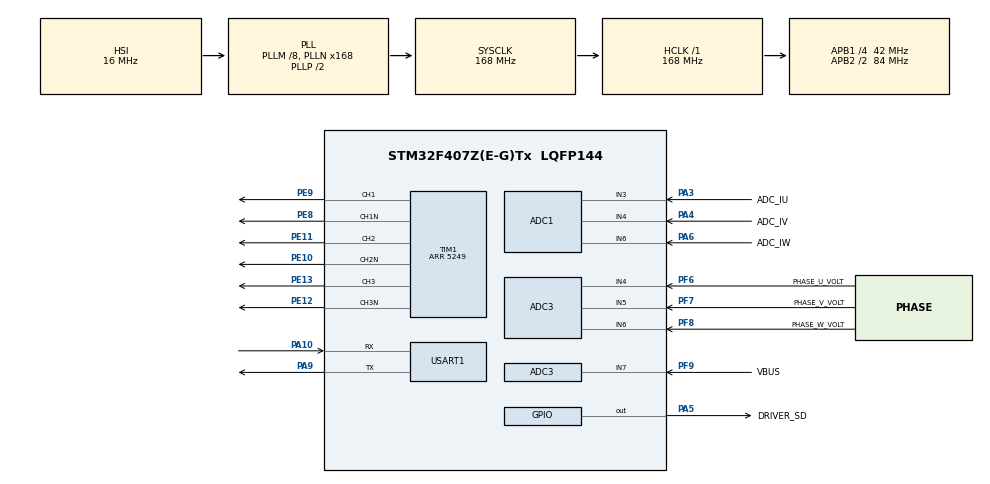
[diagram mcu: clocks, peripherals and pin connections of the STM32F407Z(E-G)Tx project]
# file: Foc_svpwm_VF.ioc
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ADC1.Channel-5\#ChannelRegularConversion=ADC_CHANNEL_VREFINT
ADC1.Channel-6\#ChannelInjectedConversion=ADC_CHANNEL_3
ADC1.Channel-7\#ChannelInjectedConversion=ADC_CHANNEL_4
ADC1.Channel-8\#ChannelInjectedConversion=ADC_CHANNEL_6
ADC1.ExternalTrigInjecConv=ADC_EXTERNALTRIGINJECCONV_T1_CC4
ADC1.InjNumberOfConversion=3
ADC1.InjectedOffset-6\#ChannelInjectedConversion=0
ADC1.InjectedOffset-7\#ChannelInjectedConversion=0
ADC1.InjectedOffset-8\#ChannelInjectedConversion=0
ADC1.InjectedRank-6\#ChannelInjectedConversion=1
ADC1.InjectedRank-7\#ChannelInjectedConversion=2
ADC1.InjectedRank-8\#ChannelInjectedConversion=3
ADC1.NbrOfConversionFlag=1
ADC1.Rank-5\#ChannelRegularConversion=1
ADC1.SamplingTime-5\#ChannelRegularConversion=ADC_SAMPLETIME_480CYCLES
ADC1.SamplingTime-6\#ChannelInjectedConversion=ADC_SAMPLETIME_15CYCLES
ADC1.SamplingTime-7\#ChannelInjectedConversion=ADC_SAMPLETIME_15CYCLES
ADC1.SamplingTime-8\#ChannelInjectedConversion=ADC_SAMPLETIME_15CYCLES
ADC1.master=1
ADC3.Channel-0\#ChannelRegularConversion=ADC_CHANNEL_4
ADC3.Channel-1\#ChannelRegularConversion=ADC_CHANNEL_5
ADC3.Channel-2\#ChannelRegularConversion=ADC_CHANNEL_6
ADC3.Channel-3\#ChannelRegularConversion=ADC_CHANNEL_7
ADC3.ContinuousConvMode=DISABLE
ADC3.NbrOfConversion=4
ADC3.NbrOfConversionFlag=1
ADC3.Rank-0\#ChannelRegularConversion=1
ADC3.Rank-1\#ChannelRegularConversion=2
ADC3.Rank-2\#ChannelRegularConversion=3
ADC3.Rank-3\#ChannelRegularConversion=4
ADC3.SamplingTime-0\#ChannelRegularConversion=ADC_SAMPLETIME_28CYCLES
ADC3.SamplingTime-1\#ChannelRegularConversion=ADC_SAMPLETIME_28CYCLES
ADC3.SamplingTime-2\#ChannelRegularConversion=ADC_SAMPLETIME_28CYCLES
ADC3.SamplingTime-3\#ChannelRegularConversion=ADC_SAMPLETIME_28CYCLES
ADC3.DMAContinuousRequests=ENABLE
ADC3.EOCSelection=ADC_EOC_SEQ_CONV
ADC3.ScanConvMode=ENABLE
Dma.Request0=USART1_RX
Dma.Request1=USART1_TX
Dma.Request2=ADC3
Dma.USART1_RX.0.Direction=DMA_PERIPH_TO_MEMORY
Dma.USART1_RX.0.FIFOMode=DMA_FIFOMODE_DISABLE
Dma.USART1_RX.0.Instance=DMA2_Stream2
Dma.USART1_RX.0.MemDataAlignment=DMA_MDATAALIGN_BYTE
Dma.USART1_RX.0.MemInc=DMA_MINC_ENABLE
Dma.USART1_RX.0.Mode=DMA_NORMAL
Dma.USART1_RX.0.PeriphDataAlignment=DMA_PDATAALIGN_BYTE
Dma.USART1_RX.0.PeriphInc=DMA_PINC_DISABLE
Dma.USART1_RX.0.Priority=DMA_PRIORITY_LOW
Dma.USART1_TX.1.Direction=DMA_MEMORY_TO_PERIPH
Dma.USART1_TX.1.FIFOMode=DMA_FIFOMODE_DISABLE
Dma.USART1_TX.1.Instance=DMA2_Stream7
Dma.USART1_TX.1.MemDataAlignment=DMA_MDATAALIGN_BYTE
Dma.USART1_TX.1.MemInc=DMA_MINC_ENABLE
Dma.USART1_TX.1.Mode=DMA_NORMAL
Dma.USART1_TX.1.PeriphDataAlignment=DMA_PDATAALIGN_BYTE
Dma.USART1_TX.1.PeriphInc=DMA_PINC_DISABLE
Dma.USART1_TX.1.Priority=DMA_PRIORITY_LOW
Dma.ADC3.2.Direction=DMA_PERIPH_TO_MEMORY
Dma.ADC3.2.FIFOMode=DMA_FIFOMODE_DISABLE
Dma.ADC3.2.Instance=DMA2_Stream0
Dma.ADC3.2.MemDataAlignment=DMA_MDATAALIGN_HALFWORD
Dma.ADC3.2.MemInc=DMA_MINC_ENABLE
Dma.ADC3.2.Mode=DMA_NORMAL
Dma.ADC3.2.PeriphDataAlignment=DMA_PDATAALIGN_HALFWORD
Dma.ADC3.2.PeriphInc=DMA_PINC_DISABLE
Dma.ADC3.2.Priority=DMA_PRIORITY_LOW
Mcu.Family=STM32F4
Mcu.Name=STM32F407Z(E-G)Tx
Mcu.Package=LQFP144
NVIC.ADC_IRQn=true\:1\:0\:true\:false\:true\:true\:true\:true
NVIC.DMA2_Stream2_IRQn=true\:0\:0\:false\:false\:true\:false\:true\:true
NVIC.DMA2_Stream7_IRQn=true\:0\:0\:false\:false\:true\:false\:true\:true
NVIC.PriorityGroup=NVIC_PRIORITYGROUP_4
NVIC.USART1_IRQn=true\:1\:0\:true\:false\:true\:true\:true\:true
PA10.Mode=Asynchronous
PA10.Signal=USART1_RX
PA13.Mode=Serial_Wire
PA13.Signal=SYS_JTMS-SWDIO
PA14.Mode=Serial_Wire
PA14.Signal=SYS_JTCK-SWCLK
PA3.GPIO_Label=ADC_IU
PA3.Signal=ADCx_IN3
PA4.GPIO_Label=ADC_IV
PA4.Signal=ADCx_IN4
PA5.GPIO_Label=DRIVER_SD
PA5.GPIO_PuPd=GPIO_PULLDOWN
PA5.Signal=GPIO_Output
PA6.GPIO_Label=ADC_IW
PA6.Signal=ADCx_IN6
PA9.Mode=Asynchronous
PA9.Signal=USART1_TX
PC14-OSC32_IN.Mode=LSE-External-Oscillator
PC14-OSC32_IN.Signal=RCC_OSC32_IN
PC15-OSC32_OUT.Mode=LSE-External-Oscillator
PC15-OSC32_OUT.Signal=RCC_OSC32_OUT
PE10.Mode=PWM Generation2 CH2 CH2N
PE10.Signal=TIM1_CH2N
PE11.Signal=S_TIM1_CH2
PE12.Mode=PWM Generation3 CH3 CH3N
PE12.Signal=TIM1_CH3N
PE13.Signal=S_TIM1_CH3
PE8.Mode=PWM Generation1 CH1 CH1N
PE8.Signal=TIM1_CH1N
PE9.Signal=S_TIM1_CH1
PF6.GPIO_Label=PHASE_U_VOLT
PF6.Mode=IN4
PF6.Signal=ADC3_IN4
PF7.GPIO_Label=PHASE_V_VOLT
PF7.Mode=IN5
PF7.Signal=ADC3_IN5
PF8.GPIO_Label=PHASE_W_VOLT
PF8.Mode=IN6
PF8.Signal=ADC3_IN6
PF9.GPIO_Label=VBUS
PF9.Mode=IN7
PF9.Signal=ADC3_IN7
PH0-OSC_IN.Mode=HSE-External-Oscillator
PH0-OSC_IN.Signal=RCC_OSC_IN
PH1-OSC_OUT.Mode=HSE-External-Oscillator
PH1-OSC_OUT.Signal=RCC_OSC_OUT
ProjectManager.HeapSize=0x200
ProjectManager.StackSize=0x400
ProjectManager.TargetToolchain=MDK-ARM V5.32
RCC.48MHZClocksFreq_Value=84000000
RCC.AHBFreq_Value=168000000
RCC.APB1CLKDivider=RCC_HCLK_DIV4
RCC.APB1Freq_Value=42000000
RCC.APB1TimFreq_Value=84000000
RCC.APB2CLKDivider=RCC_HCLK_DIV2
RCC.APB2Freq_Value=84000000
RCC.APB2TimFreq_Value=168000000
RCC.CortexFreq_Value=168000000
RCC.HCLKFreq_Value=168000000
RCC.HSE_VALUE=8000000
RCC.HSI_VALUE=16000000
RCC.PLLM=8
RCC.PLLN=168
RCC.SYSCLKFreq_VALUE=168000000
RCC.SYSCLKSource=RCC_SYSCLKSOURCE_PLLCLK
RCC.VCOOutputFreq_Value=336000000
SH.ADCx_IN3.0=ADC1_IN3,IN3
SH.ADCx_IN4.0=ADC1_IN4,IN4
SH.ADCx_IN6.0=ADC1_IN6,IN6
SH.S_TIM1_CH1.0=TIM1_CH1,PWM Generation1 CH1 CH1N
SH.S_TIM1_CH2.0=TIM1_CH2,PWM Generation2 CH2 CH2N
SH.S_TIM1_CH3.0=TIM1_CH3,PWM Generation3 CH3 CH3N
TIM1.AutoReloadPreload=TIM_AUTORELOAD_PRELOAD_ENABLE
TIM1.Channel-PWM\ Generation1\ CH1\ CH1N=TIM_CHANNEL_1
TIM1.Channel-PWM\ Generation2\ CH2\ CH2N=TIM_CHANNEL_2
TIM1.Channel-PWM\ Generation3\ CH3\ CH3N=TIM_CHANNEL_3
TIM1.Channel-PWM\ Generation4\ No\ Output=TIM_CHANNEL_4
TIM1.CounterMode=TIM_COUNTERMODE_CENTERALIGNED1
TIM1.OCMode_PWM-PWM\ Generation4\ No\ Output=TIM_OCMODE_PWM2
TIM1.Period=5249
TIM1.Pulse-PWM\ Generation2\ CH2\ CH2N=0
TIM1.Pulse-PWM\ Generation3\ CH3\ CH3N=0
TIM1.Pulse-PWM\ Generation4\ No\ Output=2625
TIM1.RepetitionCounter=1
TIM6.Prescaler=83
TIM6.Period=999
TIM6.MasterOutputTrigger=TIM_TRGO_UPDATE
USART1.VirtualMode=VM_ASYNC
VP_TIM1_VS_ClockSourceINT.Mode=Internal
VP_TIM1_VS_no_output4.Mode=PWM Generation4 No Output
VP_TIM6_VS_ClockSourceINT.Mode=Enable_Timer
board=custom

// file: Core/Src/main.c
/* USER CODE BEGIN Header */
/**
  ******************************************************************************
  * @file           : main.c
  * @brief          : Main program body
  ******************************************************************************
  * @attention
  *
  * Copyright (c) 2026 STMicroelectronics.
  * All rights reserved.
  *
  * This software is licensed under terms that can be found in the LICENSE file
  * in the root directory of this software component.
  * If no LICENSE file comes with this software, it is provided AS-IS.
  *
  ******************************************************************************
  */
/* USER CODE END Header */
#include "main.h"
#include "adc.h"
#include "dma.h"
#include "tim.h"
#include "usart.h"
#include "gpio.h"

/* USER CODE BEGIN Includes */
#include "open_loop_vf.h"
#include "svpwm.h"
#include "foc_math.h"
#include "foc_hw_pwm.h"
#include "comm_uart.h"
#include "comm_uart_stm32.h"
#include "comm_vofa.h"
#include "comm_cmd.h"
#include "comm_scope.h"
#include "app_debug.h"
#include "app_measurement.h"
#include "motor_fault.h"
#include "stm32f4xx_ll_adc.h"
#include <math.h>
/* USER CODE END Includes */

/* USER CODE BEGIN PD */
// TODO: 这些宏定义是否需要放到配置文件中，方便后续的参数调整和维护，或者后期修改为变量，便于在运行时进行调试和优化，减少代码的硬编码，提高系统的灵活性和可配置性。
#define VDC             12.0f       /* 母线电压 (V) */
#define PWM_FREQ        16000       /* PWM 频率 (Hz) */
#define PWM_PERIOD      5249        /* TIM1 ARR 值 */
#define ADC_TRIGGER_TICKS ((PWM_PERIOD * 3U + 2U) / 4U) /* 50% PWM 导通区中部 */
#define DEAD_TIME_US    0.5f        /* 死区时间 (us) */

#define VF_TARGET_FREQ  17.0f       /* 目标频率 (Hz) */
#define VF_ACCEL        2.0f        /* 加速度 (Hz/s) */
#define VF_RATIO        0.05f       /* V/f 比 (V/Hz) */
#define VF_V_MAX        5.93f       /* 最大电压 (V) = Vdc/√3 */
#define VF_V_MIN        0.2f        /* 最小电压 (V) */

#define DEBUG_UART_RX_DMA_SIZE   64U
#define DEBUG_UART_RX_RING_SIZE  128U
#define DEBUG_UART_TX_RING_SIZE  512U
#define DEBUG_UART_TX_DMA_SIZE   64U
#define DEBUG_FREQ_MIN_HZ        0.0f
#define DEBUG_FREQ_MAX_HZ        30.0f

#define ADC_VREF                 3.0f
#define ADC_MAX_COUNT            4095.0f
#define BEMF_OFFSET_V            1.26f
#define BEMF_SCALE               37.0f
#define VBUS_OFFSET_V            1.26f
#define VBUS_SCALE               37.0f       /* 原理图：POWER / 37 + 1.24V */

/* TODO: VOFA Scope 直出会导致 VOFA+ 卡死，后续改为分频输出或触发捕获。 */
#define VOFA_OUTPUT_MODE              VOFA_MODE_NORMAL
#define VOFA_NORMAL_PERIOD_MS         1U
#define CURRENT_ZERO_CALIBRATION_SAMPLES  2048U
#define CURRENT_ZERO_CALIBRATION_TIMEOUT_MS  250U
#define SOFTWARE_OVERCURRENT_LIMIT_A     5.0f
#define SOFTWARE_OVERCURRENT_TRIP_COUNT  2U
/* USER CODE END PD */

/* USER CODE BEGIN PV */
static open_loop_vf_t   vf;            /* V/f 控制器实例 */
static svpwm_output_t   svpwm;         /* SVPWM 实例 */
static hw_pwm_instance_t hw_pwm;       /* PWM 硬件实例 */

static comm_uart_t       debug_uart;      /* 调试串口抽象对象 */
static comm_uart_stm32_t debug_uart_drv;  /* STM32 串口适配对象 */
static comm_vofa_t       debug_vofa;      /* VOFA+ JustFloat 输出对象 */
static comm_cmd_t        debug_cmd;       /* 串口文本命令解析对象 */
static comm_scope_t      debug_scope;     /* 调试示波输出对象 */
static app_debug_t       app_debug;       /* 应用层调试模板对象 */
static motor_fault_t     motor_fault;     /* 电机控制故障锁存对象 */

static app_measurement_t app_measurement;   // TODO: 这个名字太长，是否需要重构较短的，更加简洁

typedef struct {
    uint8_t sector_applied;
    uint8_t sector_next;
} pwm_sector_state_t;   // TODO: 是否为测试代码需要删除

static pwm_sector_state_t pwm_sector_state; // TODO: 是否为测试代码需要删除

// 是否要将这部分的 DMA buffer 和 ring buffer 放到 comm_uart_stm32_t 结构体中，减少全局变量的使用
static uint8_t debug_uart_rx_dma_buf[DEBUG_UART_RX_DMA_SIZE];
static uint8_t debug_uart_rx_ring_buf[DEBUG_UART_RX_RING_SIZE];
static uint8_t debug_uart_tx_ring_buf[DEBUG_UART_TX_RING_SIZE];
static uint8_t debug_uart_tx_dma_buf[DEBUG_UART_TX_DMA_SIZE];
/* USER CODE END PV */

void SystemClock_Config(void);
/* USER CODE BEGIN PFP */
// 初始化函数是否需要集成在统一的初始化文件中，减少 main.c 的代码量
static void debug_comm_init(void);
static void debug_comm_task(void);
static int current_zero_calibration(void);
static void power_stage_disable(void);
static void raise_control_fault(motor_fault_code_t code);
static int debug_power_stage_set(void *user, uint8_t enable);
/* USER CODE END PFP */

int main(void)
{

  /* MCU Configuration--------------------------------------------------------*/

  /* Reset of all peripherals, Initializes the Flash interface and the Systick. */
  HAL_Init();

  /* Configure the system clock */
  SystemClock_Config();

  /* Initialize all configured peripherals */
  MX_GPIO_Init();
  MX_DMA_Init();
  MX_TIM1_Init();
  MX_ADC1_Init();
  MX_TIM6_Init();
  MX_USART1_UART_Init();
  MX_ADC3_Init();

  app_measurement_config_t measurement_cfg = {
      .adc_vref       = ADC_VREF,
      .adc_max_count  = ADC_MAX_COUNT,
      .vrefint_cal_raw = *VREFINT_CAL_ADDR,
      .vrefint_cal_v  = (float)VREFINT_CAL_VREF / 1000.0f,
      .current_offset_v = 1.27f,
      .current_shunt_ohm = 0.02f,
      .current_amplifier_gain = 8.0f,
      .software_overcurrent_limit_a = SOFTWARE_OVERCURRENT_LIMIT_A,
      .software_overcurrent_trip_count = SOFTWARE_OVERCURRENT_TRIP_COUNT,
      .bemf_offset_v  = BEMF_OFFSET_V,
      .bemf_scale     = BEMF_SCALE,
      .vbus_offset_v  = VBUS_OFFSET_V,
      .vbus_scale     = VBUS_SCALE,
  };
  if (app_measurement_init(&app_measurement, &measurement_cfg) < 0) {
      Error_Handler();
  }

  /* USER CODE BEGIN 2 */

  motor_fault_init(&motor_fault);

  /* 调试串口初始化：USART1 + DMA + VOFA+ JustFloat */
  debug_comm_init();

  /* 控制模块初始化 */
  open_loop_vf_init(&vf, VF_TARGET_FREQ, VF_ACCEL, VF_RATIO, VF_V_MAX, VF_V_MIN);
  /* 预定位参数: 0.5V, 持续 0.5s (保守值，待调试) */
  open_loop_vf_set_align(&vf, 0.5f, 0.5f);

  svpwm_init(&svpwm, VDC, PWM_FREQ, PWM_PERIOD);

  hw_pwm_config_t pwm_cfg = {
      .htim              = &htim1,
      .timer_clk_hz      = 168000000U,
      .period_ticks      = PWM_PERIOD,
      .adc_trigger_ticks = ADC_TRIGGER_TICKS,
      .dead_time_us      = DEAD_TIME_US,
      .v_dc              = VDC,
  };
  hw_pwm_init(&hw_pwm, &pwm_cfg);

  /* 启动 TIM1 计数器（不开更新中断） */
  HAL_TIM_Base_Start(&htim1);

  /* 上电默认关闭功率级；仅由串口 start 命令显式使能。 */
  hw_pwm_disable(&hw_pwm);  // TODO: 这里直接接触硬件层，理论上应该通过应用层接口来控制功率级的使能和关闭，避免直接操作硬件导致潜在的安全问题。

  /* 启动 ADC 注入转换，TIM1 CC4 触发 */ // TODO: 这部分是否考虑形成函数，方便后续的 ADC 配置和启动流程的复用
  HAL_ADCEx_InjectedStart_IT(&hadc1);
  HAL_ADCEx_InjectedStart_IT(&hadc3);

  /* 驱动器保持关闭，只启动 CH4 触发 ADC，完成三相电流零点标定。 */
  if (current_zero_calibration() < 0) {
      Error_Handler();
  }

  /* 零点校准完成后才允许软件过流保护参与运行判断。 */
  app_measurement_set_overcurrent_enabled(&app_measurement, 1U);

  /* 三相电流零点校准已经完成；母线电压保护仍未接入。
     当前阶段保持 STOP 状态，功率级关闭，等待串口 start 命令。 */
  /* USER CODE END 2 */

  /* Infinite loop */
  while (1)
  {

    /* USER CODE BEGIN 3 */
    debug_comm_task();
  }
  /* USER CODE END 3 */
}

void SystemClock_Config(void)
{
  RCC_OscInitTypeDef RCC_OscInitStruct = {0};
  RCC_ClkInitTypeDef RCC_ClkInitStruct = {0};

  /** Configure the main internal regulator output voltage
  */
  __HAL_RCC_PWR_CLK_ENABLE();
  __HAL_PWR_VOLTAGESCALING_CONFIG(PWR_REGULATOR_VOLTAGE_SCALE1);

  /** Initializes the RCC Oscillators according to the specified parameters
  * in the RCC_OscInitTypeDef structure.
  */
  RCC_OscInitStruct.OscillatorType = RCC_OSCILLATORTYPE_HSI;
  RCC_OscInitStruct.HSIState = RCC_HSI_ON;
  RCC_OscInitStruct.HSICalibrationValue = RCC_HSICALIBRATION_DEFAULT;
  RCC_OscInitStruct.PLL.PLLState = RCC_PLL_ON;
  RCC_OscInitStruct.PLL.PLLSource = RCC_PLLSOURCE_HSI;
  RCC_OscInitStruct.PLL.PLLM = 8;
  RCC_OscInitStruct.PLL.PLLN = 168;
  RCC_OscInitStruct.PLL.PLLP = RCC_PLLP_DIV2;
  RCC_OscInitStruct.PLL.PLLQ = 4;
  if (HAL_RCC_OscConfig(&RCC_OscInitStruct) != HAL_OK)
  {
    Error_Handler();
  }

  /** Initializes the CPU, AHB and APB buses clocks
  */
  RCC_ClkInitStruct.ClockType = RCC_CLOCKTYPE_HCLK|RCC_CLOCKTYPE_SYSCLK
                              |RCC_CLOCKTYPE_PCLK1|RCC_CLOCKTYPE_PCLK2;
  RCC_ClkInitStruct.SYSCLKSource = RCC_SYSCLKSOURCE_PLLCLK;
  RCC_ClkInitStruct.AHBCLKDivider = RCC_SYSCLK_DIV1;
  RCC_ClkInitStruct.APB1CLKDivider = RCC_HCLK_DIV4;
  RCC_ClkInitStruct.APB2CLKDivider = RCC_HCLK_DIV2;

  if (HAL_RCC_ClockConfig(&RCC_ClkInitStruct, FLASH_LATENCY_5) != HAL_OK)
  {
    Error_Handler();
  }
}

/* USER CODE BEGIN 4 */

/**
 * @brief 初始化调试串口输出链路
 *
 * 当前使用 USART1，发送侧为 ringbuffer + DMA，接收侧为 DMA + IDLE。
 * VOFA+ 上位机需要选择 JustFloat 协议，波特率 3000000。
 */
static void debug_comm_init(void)
{
    comm_uart_stm32_config_t uart_cfg = {
        .huart        = &huart1,
        .rx_dma_buf   = debug_uart_rx_dma_buf,
        .rx_dma_size  = DEBUG_UART_RX_DMA_SIZE,
        .rx_ring_buf  = debug_uart_rx_ring_buf,
        .rx_ring_size = DEBUG_UART_RX_RING_SIZE,
        .tx_ring_buf  = debug_uart_tx_ring_buf,
        .tx_ring_size = DEBUG_UART_TX_RING_SIZE,
        .tx_dma_buf   = debug_uart_tx_dma_buf,
        .tx_dma_size  = DEBUG_UART_TX_DMA_SIZE,
    };
    comm_cmd_config_t cmd_cfg = {
        .uart        = &debug_uart,
        .user        = &app_debug,
        .start       = app_debug_cmd_start,
        .stop        = app_debug_cmd_stop,
        .set_freq    = app_debug_cmd_set_freq,
        .freq_min_hz = DEBUG_FREQ_MIN_HZ,
        .freq_max_hz = DEBUG_FREQ_MAX_HZ,
    };
    comm_scope_config_t scope_cfg = {
        .vofa             = &debug_vofa,
        .mode             = VOFA_OUTPUT_MODE,
        .normal_period_ms = VOFA_NORMAL_PERIOD_MS,
    };
    app_debug_config_t app_debug_cfg = {
        .vf    = &vf,
        .svpwm = &svpwm,
        .cmd   = &debug_cmd,
        .scope = &debug_scope,
        .measurement = &app_measurement,
        .fault = &motor_fault,
        .power_stage_set = debug_power_stage_set,
        .power_stage_user = NULL,
    };

    if (comm_uart_stm32_init(&debug_uart, &debug_uart_drv, &uart_cfg) < 0) {
        Error_Handler();
    }

    comm_vofa_init(&debug_vofa, &debug_uart);

    if (comm_uart_start_rx(&debug_uart) < 0) {
        Error_Handler();
    }

    if (comm_scope_init(&debug_scope, &scope_cfg) < 0) {
        Error_Handler();
    }

    if (app_debug_init(&app_debug, &app_debug_cfg) < 0) {
        Error_Handler();
    }

    if (comm_cmd_init(&debug_cmd, &cmd_cfg) < 0) {
        Error_Handler();
    }
}

/**
 * @brief 调试通信主循环任务
 */
static void debug_comm_task(void)
{
    app_debug_poll(&app_debug, HAL_GetTick());
}

/**
 * @brief 串口启动流程使用的功率级控制回调。
 * @param user 未使用，保留回调接口扩展性。
 * @param enable 1: 启动 PWM 并使能 SD；0: 关闭 PWM 并拉低 SD。
 * @return 0 表示目标状态已设置。
 */
static int debug_power_stage_set(void *user, uint8_t enable)
{
    (void)user;

    if (enable != 0U) {
        hw_pwm_enable(&hw_pwm);
        return hw_pwm_is_enabled(&hw_pwm) != 0U ? 0 : -1;
    }

    power_stage_disable();
    return hw_pwm_is_enabled(&hw_pwm) == 0U ? 0 : -1;
}

/**
 * @brief 关闭功率级并停止控制状态。
 * @note 该函数只负责动作，不清除故障锁存，异常状态下串口 start 命令不生效。
 */
static void power_stage_disable(void)
{
    open_loop_vf_stop(&vf);
    hw_pwm_power_stage_disable(&hw_pwm);
    hw_pwm_motor_outputs_disable(&hw_pwm);
    pwm_sector_state.sector_applied = 0U;
    pwm_sector_state.sector_next = 0U;
}

/**
 * @brief 保存控制现场并锁存调制故障。
 */
static void raise_control_fault(motor_fault_code_t code)
{
    motor_fault_context_t context = {
        .svpwm_fault = svpwm.fault,
        .sector      = pwm_sector_state.sector_applied,
        .v_alpha     = svpwm.v_alpha,
        .v_beta      = svpwm.v_beta,
        .cmp_a       = svpwm.pwm.cmp_a,
        .cmp_b       = svpwm.pwm.cmp_b,
        .cmp_c       = svpwm.pwm.cmp_c,
        .tick_ms     = HAL_GetTick(),
    };

    motor_fault_raise(&motor_fault, code, &context);
}

/**
 * @brief 在驱动器关闭时采集三相电流零点。
 *
 * 仅打开 TIM1 CH4 作为 ADC 触发源，不打开三相 PWM 和驱动器 SD。
 */
static int current_zero_calibration(void)
{
    uint32_t start_tick;

    app_measurement_start_current_zero_calibration(
        &app_measurement, CURRENT_ZERO_CALIBRATION_SAMPLES);

    if (HAL_TIM_PWM_Start(&htim1, TIM_CHANNEL_4) != HAL_OK) {
        return -1;
    }

    start_tick = HAL_GetTick();
    while (!app_measurement_is_current_zero_calibration_done(
               &app_measurement)) {
        debug_comm_task();
        if ((uint32_t)(HAL_GetTick() - start_tick) >=
            CURRENT_ZERO_CALIBRATION_TIMEOUT_MS) {
            HAL_TIM_PWM_Stop(&htim1, TIM_CHANNEL_4);
            return -2;
        }
    }

    HAL_TIM_PWM_Stop(&htim1, TIM_CHANNEL_4);

    return app_measurement_apply_current_zero_calibration(
        &app_measurement);
}

/**
 * @brief  ADC 注入转换完成回调
 *
 * TIM1 CC4 触发 ADC 注入转换，转换完成后进入此回调。
 * 每个 PWM 周期执行一次控制链路:
 *   open_loop_vf_step → foc_inv_park → svpwm_update → hw_pwm_set_duty
 *
 * @param  hadc : ADC 句柄
 */
void HAL_ADCEx_InjectedConvCpltCallback(ADC_HandleTypeDef *hadc)
{
    if (hadc->Instance == ADC3) {
        uint16_t bemf_u_raw = (uint16_t)HAL_ADCEx_InjectedGetValue(
            hadc, ADC_INJECTED_RANK_1);
        uint16_t bemf_v_raw = (uint16_t)HAL_ADCEx_InjectedGetValue(
            hadc, ADC_INJECTED_RANK_2);
        uint16_t bemf_w_raw = (uint16_t)HAL_ADCEx_InjectedGetValue(
            hadc, ADC_INJECTED_RANK_3);
        uint16_t vbus_raw = (uint16_t)HAL_ADCEx_InjectedGetValue(
            hadc, ADC_INJECTED_RANK_4);

        app_measurement_update(&app_measurement,
                               bemf_u_raw,
                               bemf_v_raw,
                               bemf_w_raw,
                               vbus_raw);
        return;
    }

    if (hadc->Instance != ADC1)
        return;

    /* 本次 ADC 采样属于上一轮已经写入并生效的 PWM。 */
    pwm_sector_state.sector_applied = pwm_sector_state.sector_next;

    /* 读取三相电流原始值；测量模块会按扇区选择两相并重构第三相。 */
    uint16_t current_u_raw = (uint16_t)HAL_ADCEx_InjectedGetValue(
        hadc, ADC_INJECTED_RANK_1);
    uint16_t current_v_raw = (uint16_t)HAL_ADCEx_InjectedGetValue(
        hadc, ADC_INJECTED_RANK_2);
    uint16_t current_w_raw = (uint16_t)HAL_ADCEx_InjectedGetValue(
        hadc, ADC_INJECTED_RANK_3);
    uint16_t vrefint_raw = (uint16_t)HAL_ADCEx_InjectedGetValue(
        hadc, ADC_INJECTED_RANK_4);
    app_measurement_update_current(&app_measurement,
                                   pwm_sector_state.sector_applied,
                                   current_u_raw,
                                   current_v_raw,
                                   current_w_raw);
    app_measurement_update_vrefint(&app_measurement, vrefint_raw);

    /* 故障锁存后保留 ADC 采集和通信观察，但不再执行控制计算。 */
    if (motor_fault_is_latched(&motor_fault) != 0U) {
        return;
    }

    if (app_measurement_check_overcurrent(&app_measurement,
                                          pwm_sector_state.sector_applied,
                                          current_u_raw,
                                          current_v_raw,
        current_w_raw) != 0U) {
        /* 过流故障锁存：关闭功率级，禁止控制链路继续运行。 */
        raise_control_fault(MOTOR_FAULT_OVERCURRENT);
        power_stage_disable();
        return;
    }

    float dt = 1.0f / (float)PWM_FREQ;     /* 控制周期 62.5μs */

    /* V/f 步进: 根据状态机更新频率、电压、角度 */
    open_loop_vf_step(&vf, dt);

    if (open_loop_vf_get_state(&vf) == OPEN_LOOP_VF_STATE_STOP) {
        /* STOP 状态: 输出零矢量 (50% 占空比，线电压平均为零) */
        pwm_output_t zero = {
            .freq   = PWM_FREQ,
            .period = PWM_PERIOD,
            .cmp_a  = PWM_PERIOD / 2,
            .cmp_b  = PWM_PERIOD / 2,
            .cmp_c  = PWM_PERIOD / 2,
        };
        hw_pwm_set_duty(&hw_pwm, &zero);

        app_debug_on_pwm_update(&app_debug, &zero);
    } else {
        /* ALIGN / RAMP / RUN: 正常控制链路 */
        float v_alpha, v_beta;
        foc_inv_park(vf.v_out, 0.0f, vf.theta_e, &v_alpha, &v_beta);
        svpwm_update(&svpwm, v_alpha, v_beta);

        /* 安全零矢量不是最终保护动作，必须切断功率级并锁存故障。 */
        if (svpwm.fault != SVPWM_FAULT_NONE) {
            raise_control_fault(MOTOR_FAULT_MODULATION);
            power_stage_disable();
            return;
        }

        hw_pwm_set_duty(&hw_pwm, &svpwm.pwm);

        /* 比较值写入后，当前计算的扇区成为下一次采样对应的扇区。 */
        pwm_sector_state.sector_next = svpwm.sector_next;

        app_debug_on_pwm_update(&app_debug, &svpwm.pwm);
    }
}

/* USER CODE END 4 */

void Error_Handler(void)
{
  __disable_irq();
  while (1)
  {
  }
}
